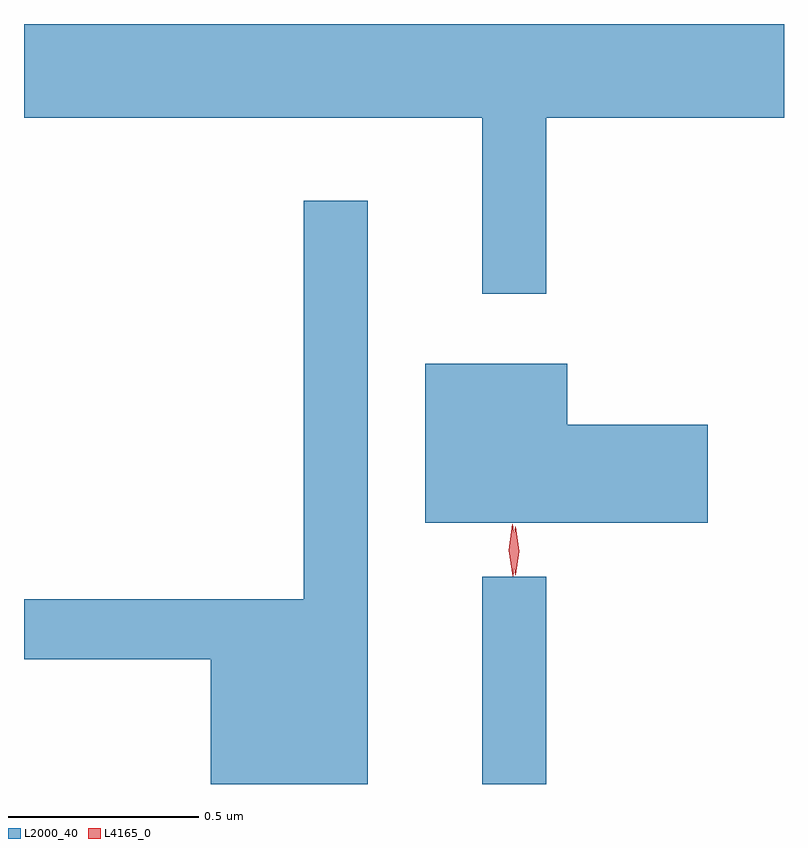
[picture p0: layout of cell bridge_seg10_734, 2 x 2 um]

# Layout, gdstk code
import gdstk
lib = gdstk.Library(unit=1e-6, precision=1e-09)
def R(c, l, rs):  # rectangles x0, y0, x1, y1
    for r in rs: c.add(gdstk.rectangle(r[:2], r[2:], *l))
def P(c, l, *ps):  # polygons
    for p in ps: c.add(gdstk.Polygon(p, *l))
L2000_40 = (2000, 40)
L4165_0 = (4165, 0)

bridge_seg10_734 = lib.new_cell('bridge_seg10_734')
R(bridge_seg10_734, L2000_40, [(951.571,2145.463,951.739,2146.008)])
P(bridge_seg10_734, L2000_40, [(951.739,2147.216),(952.365,2147.216),(952.365,2147.463),(950.365,2147.463),(950.365,2147.216),(951.571,2147.216),(951.571,2146.753),(951.739,2146.753)],
  [(951.269,2146.998),(951.101,2146.998),(951.101,2145.949),(950.365,2145.949),(950.365,2145.791),(950.856,2145.791),(950.856,2145.463),(951.269,2145.463)],
  [(952.164,2146.409),(951.794,2146.409),(951.794,2146.569),(951.421,2146.569),(951.421,2146.151),(952.164,2146.151)])
P(bridge_seg10_734, L4165_0, [(951.651,2146.01),(951.641,2146.078),(951.65,2146.146),(951.65,2146.146),(951.651,2146.146),(951.661,2146.078),(951.652,2146.01),(951.652,2146.01)],
  [(951.658,2146.013),(951.658,2146.014),(951.648,2146.076),(951.658,2146.14),(951.658,2146.14),(951.659,2146.14),(951.668,2146.076),(951.659,2146.014)])

lib.write_gds('bridge_seg10_734.gds')
